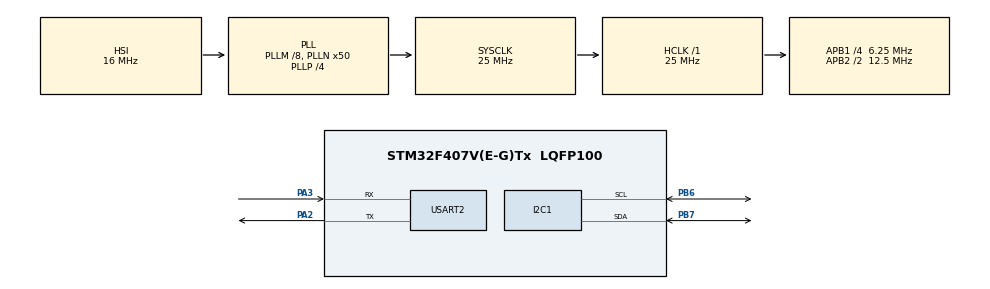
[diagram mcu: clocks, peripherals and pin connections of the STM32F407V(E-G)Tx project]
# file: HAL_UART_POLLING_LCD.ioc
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Mcu.Family=STM32F4
Mcu.Name=STM32F407V(E-G)Tx
Mcu.Package=LQFP100
NVIC.PriorityGroup=NVIC_PRIORITYGROUP_0
PA2.Mode=Asynchronous
PA2.Signal=USART2_TX
PA3.Mode=Asynchronous
PA3.Signal=USART2_RX
PB6.Mode=I2C
PB6.Signal=I2C1_SCL
PB7.Mode=I2C
PB7.Signal=I2C1_SDA
ProjectManager.HeapSize=0x200
ProjectManager.StackSize=0x400
ProjectManager.TargetToolchain=STM32CubeIDE
RCC.48MHZClocksFreq_Value=14285714.285714285
RCC.AHBFreq_Value=25000000
RCC.APB1CLKDivider=RCC_HCLK_DIV4
RCC.APB1Freq_Value=6250000
RCC.APB1TimFreq_Value=12500000
RCC.APB2CLKDivider=RCC_HCLK_DIV2
RCC.APB2Freq_Value=12500000
RCC.APB2TimFreq_Value=25000000
RCC.CortexFreq_Value=25000000
RCC.HCLKFreq_Value=25000000
RCC.HSE_VALUE=8000000
RCC.HSI_VALUE=16000000
RCC.LSE_VALUE=32768
RCC.PLLM=8
RCC.PLLN=50
RCC.PLLP=RCC_PLLP_DIV4
RCC.PLLQ=7
RCC.SYSCLKFreq_VALUE=25000000
RCC.SYSCLKSource=RCC_SYSCLKSOURCE_PLLCLK
RCC.VCOOutputFreq_Value=100000000
USART2.VirtualMode=VM_ASYNC
board=STM32F407G-DISC1

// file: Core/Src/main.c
/* USER CODE BEGIN Header */
/**
  ******************************************************************************
  * @file           : main.c
  * @brief          : Main program body
  ******************************************************************************
  * @attention
  *
  * Copyright (c) 2026 STMicroelectronics.
  * All rights reserved.
  *
  * This software is licensed under terms that can be found in the LICENSE file
  * in the root directory of this software component.
  * If no LICENSE file comes with this software, it is provided AS-IS.
  *
  ******************************************************************************
  */
/* USER CODE END Header */
#include "main.h"

/* USER CODE BEGIN Includes */
#include <string.h>
#include"lcd.h"
/* USER CODE END Includes */

I2C_HandleTypeDef hi2c1;

UART_HandleTypeDef huart2;

void SystemClock_Config(void);
static void MX_GPIO_Init(void);
static void MX_I2C1_Init(void);
static void MX_USART2_UART_Init(void);
/* USER CODE BEGIN PFP */
// util fn to input string from uart (until enter key i.e. \r)
void UART_Gets(char str[])
{
	char ch;
	for(int i=0; i<32; i++) {
		HAL_UART_Receive(&huart2, (uint8_t*)&ch, 1, HAL_MAX_DELAY);
		str[i] = ch;
		if(ch == '\r') {
			str[++i] = '\n';
			str[++i] = '\0';
			break;
		}
	}
}
/* USER CODE END PFP */

int main(void)
{

  /* MCU Configuration--------------------------------------------------------*/

  /* Reset of all peripherals, Initializes the Flash interface and the Systick. */
  HAL_Init();

  /* Configure the system clock */
  SystemClock_Config();

  /* Initialize all configured peripherals */
  MX_GPIO_Init();
  MX_I2C1_Init();
  MX_USART2_UART_Init();
  /* USER CODE BEGIN 2 */
  lcd_init();
    lcd_puts(LCD_LINE1, "Hello Sir !!!");
    lcd_puts(LCD_LINE2, "WELCOME...");

  /* USER CODE END 2 */

  /* Infinite loop */
  /* USER CODE BEGIN WHILE */
  while (1)
  {

	  char str[30];
	  HAL_UART_Transmit(&huart2, (uint8_t*)"Enter the String: \r\n", 20, HAL_MAX_DELAY);
	  UART_Gets(str);
	  strupr(str);
	  HAL_UART_Transmit(&huart2, (uint8_t*)str, strlen(str), HAL_MAX_DELAY);
	  if(strncmp(str, "L1", 2) == 0)
	  {
		  for (int i = 2; str[i] != '\0'; i++)
		  {
		  	  lcd_puts(LCD_LINE1, str);
		  }
	  }
	  else
	  {
		  lcd_puts(LCD_LINE2, str);

	  }
    /* USER CODE END WHILE */

  }
}

void SystemClock_Config(void)
{
  RCC_OscInitTypeDef RCC_OscInitStruct = {0};
  RCC_ClkInitTypeDef RCC_ClkInitStruct = {0};

  /** Configure the main internal regulator output voltage
  */
  __HAL_RCC_PWR_CLK_ENABLE();
  __HAL_PWR_VOLTAGESCALING_CONFIG(PWR_REGULATOR_VOLTAGE_SCALE1);

  /** Initializes the RCC Oscillators according to the specified parameters
  * in the RCC_OscInitTypeDef structure.
  */
  RCC_OscInitStruct.OscillatorType = RCC_OSCILLATORTYPE_HSI;
  RCC_OscInitStruct.HSIState = RCC_HSI_ON;
  RCC_OscInitStruct.HSICalibrationValue = RCC_HSICALIBRATION_DEFAULT;
  RCC_OscInitStruct.PLL.PLLState = RCC_PLL_ON;
  RCC_OscInitStruct.PLL.PLLSource = RCC_PLLSOURCE_HSI;
  RCC_OscInitStruct.PLL.PLLM = 8;
  RCC_OscInitStruct.PLL.PLLN = 50;
  RCC_OscInitStruct.PLL.PLLP = RCC_PLLP_DIV4;
  RCC_OscInitStruct.PLL.PLLQ = 7;
  if (HAL_RCC_OscConfig(&RCC_OscInitStruct) != HAL_OK)
  {
    Error_Handler();
  }

  /** Initializes the CPU, AHB and APB buses clocks
  */
  RCC_ClkInitStruct.ClockType = RCC_CLOCKTYPE_HCLK|RCC_CLOCKTYPE_SYSCLK
                              |RCC_CLOCKTYPE_PCLK1|RCC_CLOCKTYPE_PCLK2;
  RCC_ClkInitStruct.SYSCLKSource = RCC_SYSCLKSOURCE_PLLCLK;
  RCC_ClkInitStruct.AHBCLKDivider = RCC_SYSCLK_DIV1;
  RCC_ClkInitStruct.APB1CLKDivider = RCC_HCLK_DIV4;
  RCC_ClkInitStruct.APB2CLKDivider = RCC_HCLK_DIV2;

  if (HAL_RCC_ClockConfig(&RCC_ClkInitStruct, FLASH_LATENCY_0) != HAL_OK)
  {
    Error_Handler();
  }
}

static void MX_I2C1_Init(void)
{

  hi2c1.Instance = I2C1;
  hi2c1.Init.ClockSpeed = 100000;
  hi2c1.Init.DutyCycle = I2C_DUTYCYCLE_2;
  hi2c1.Init.OwnAddress1 = 0;
  hi2c1.Init.AddressingMode = I2C_ADDRESSINGMODE_7BIT;
  hi2c1.Init.DualAddressMode = I2C_DUALADDRESS_DISABLE;
  hi2c1.Init.OwnAddress2 = 0;
  hi2c1.Init.GeneralCallMode = I2C_GENERALCALL_DISABLE;
  hi2c1.Init.NoStretchMode = I2C_NOSTRETCH_DISABLE;
  if (HAL_I2C_Init(&hi2c1) != HAL_OK)
  {
    Error_Handler();
  }

}

static void MX_USART2_UART_Init(void)
{

  huart2.Instance = USART2;
  huart2.Init.BaudRate = 115200;
  huart2.Init.WordLength = UART_WORDLENGTH_8B;
  huart2.Init.StopBits = UART_STOPBITS_1;
  huart2.Init.Parity = UART_PARITY_NONE;
  huart2.Init.Mode = UART_MODE_TX_RX;
  huart2.Init.HwFlowCtl = UART_HWCONTROL_NONE;
  huart2.Init.OverSampling = UART_OVERSAMPLING_16;
  if (HAL_UART_Init(&huart2) != HAL_OK)
  {
    Error_Handler();
  }

}

static void MX_GPIO_Init(void)
{

  /* GPIO Ports Clock Enable */
  __HAL_RCC_GPIOA_CLK_ENABLE();
  __HAL_RCC_GPIOB_CLK_ENABLE();

}

void Error_Handler(void)
{
  __disable_irq();
  while (1)
  {
  }
}
